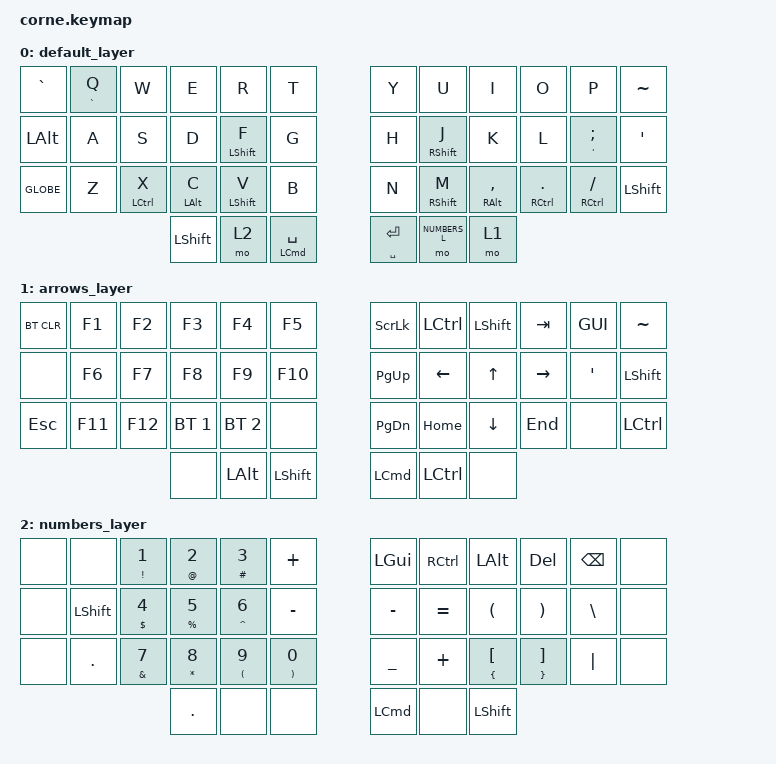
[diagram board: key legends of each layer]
/*
 * Copyright (c) 2020 The ZMK Contributors
 *
 * SPDX-License-Identifier: MIT
 */

#include <behaviors.dtsi>
#include <dt-bindings/zmk/bt.h>
#include <dt-bindings/zmk/keys.h>

#define DEFAULT_L 0
#define ARROWS_L  1
#define NUMBERS_L 2

/ {
    behaviors {
        hm: homerow_mods {
            compatible = "zmk,behavior-hold-tap";
            label = "HOMEROW_MODS";
            #binding-cells = <2>;
            tapping-term-ms = <160>;
            quick-tap-ms = <0>;
            flavor = "tap-preferred";
            bindings = <&kp>, <&kp>;
        };
    };

    combos {
        compatible = "zmk,combos";

        combo_esc {
            timeout-ms = <40>;
            key-positions = <0 1>;
            bindings = <&kp ESC>;
        };

        combo_tab {
            bindings = <&kp TAB>;
            key-positions = <22 23>;
        };

        combo_up {
            bindings = <&kp UP_ARROW>;
            key-positions = <20 21>;
        };

        combo_right {
            bindings = <&kp RIGHT>;
            key-positions = <21 22>;
        };

        combo_left {
            bindings = <&kp LEFT>;
            key-positions = <19 20>;
        };

        combo_down {
            bindings = <&kp DOWN>;
            key-positions = <32 33>;
        };
    };


    keymap {
        compatible = "zmk,keymap";

        default_layer {
            bindings = <
&kp GRAVE  &hm GRAVE Q  &kp W        &kp E           &kp R             &kp T             &kp Y             &kp U              &kp I                &kp O             &kp P     &kp TILDE
&kp LALT   &kp A        &kp S        &kp D           &hm LEFT_SHIFT F  &kp G             &kp H             &hm RIGHT_SHIFT J  &kp K                &kp L             &hm SQT SEMI    &kp APOS
&kp GLOBE  &kp Z        &hm LCTRL X  &hm LEFT_ALT C  &hm LEFT_SHIFT V    &kp B             &kp N             &hm RIGHT_SHIFT M    &hm RIGHT_ALT COMMA  &hm RCTRL PERIOD  &hm RCTRL FSLH  &kp LSHIFT
                                     &kp LSHIFT          &mo 2             &hm LCMD SPACE    &hm SPACE RETURN  &mo NUMBERS_L      &mo 1 
            >;
        };

        arrows_layer {
            bindings = <
&bt BT_CLR  &kp F1   &kp F2   &kp F3        &kp F4        &kp F5        &kp SLCK   &kp LCTRL  &kp LSHFT  &kp TAB    &kp GUI   &kp TILDE
&none   &kp F6   &kp F7   &kp F8        &kp F9        &kp F10       &kp PG_UP  &kp LEFT   &kp UP     &kp RIGHT  &kp APOS  &kp LSHFT
&kp ESC                &kp F11  &kp F12  &bt BT_SEL 1  &bt BT_SEL 2  &none    &kp PG_DN  &kp HOME   &kp DOWN   &kp END    &none     &kp LCTRL
                                         &none         &kp LEFT_ALT  &kp LSHFT     &kp LCMD   &kp LCTRL  &none
            >;
        };

        numbers_layer {
            bindings = <
&none  &none      &hm EXCL N1       &hm AT N2     &hm HASH N3   &kp PLUS       &kp LGUI   &kp RCTRL  &kp LALT       &kp DEL        &kp BSPC  &none
&none  &kp LSHFT  &hm DLLR N4       &hm PRCNT N5  &hm CARET N6  &kp MINUS      &kp MINUS  &kp EQUAL  &kp LPAR       &kp RPAR       &kp BSLH  &none
&none  &kp DOT    &hm AMPERSAND N7  &hm STAR N8   &hm LPAR N9   &hm RPAR N0    &kp UNDER  &kp PLUS   &hm LBRC LBKT  &hm RBRC RBKT  &kp PIPE  &none
                                    &kp DOT       &none         &none       &kp LCMD   &none      &kp LSHFT
            >;
        };
    };
};
